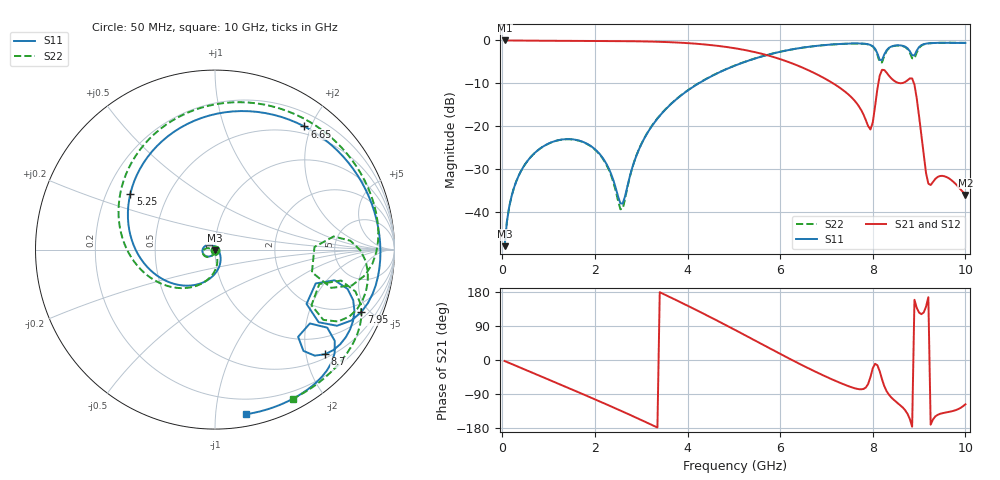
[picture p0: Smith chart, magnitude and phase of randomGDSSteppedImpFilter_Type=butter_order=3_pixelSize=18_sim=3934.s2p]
! freq	dB(S11)	phase(S11)	dB(S12)	phase(S12)
!  dB(S21)	phase(S21)	dB(S22)	phase(S22)
!S-par simulation data
#  GHz  S  DB  R 50
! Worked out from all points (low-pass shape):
!   200 points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, 50 MHz to 10 GHz, reference 50 ohm
!   highest |S21| = -0.01 dB at 50 MHz (marker M1); lowest = -36.0 dB at 10 GHz (marker M2)
!   |S21| within 3 dB of the highest: start of sweep to 5.563 GHz
!   lowest |S11| = -48.0 dB at 50 MHz (marker M3), VSWR 1.01, Z = 50 - j0.399 ohm
!   |S11| at or under -10 dB: start of sweep to 4.242 GHz
!   |S22| runs from -48.0 to -0.5 dB; largest |S21 - S12| = 0
!   S11 on the Smith chart (normalised r, x): 50 MHz: 1.00, -0.01; 5.25 GHz: 0.30, +0.28; 6.65 GHz: 0.39, +1.90; 7.95 GHz: 1.38, -4.47; 8.7 GHz: 0.58, -2.38; 10 GHz: 0.08, -1.20
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0.05  -47.98 -87.3  -0.01 -2.6  -0.01 -2.6  -47.96 -87.1
0.2  -36.34 -99.6  -0.02 -10.4  -0.02 -10.4  -36.33 -98.6
0.55  -28.02 -120.2  -0.05 -28.5  -0.05 -28.5  -28.02 -117.3
1.75  -23.70 170.9  -0.12 -90.6  -0.12 -90.6  -23.74 -175.1
2.2  -27.91 138.4  -0.14 -114.5  -0.14 -114.5  -28.07 168.5
2.6  -38.06 30.3  -0.17 -136.1  -0.17 -136.1  -39.27 -119.9
2.9  -26.75 -49.2  -0.20 -152.7  -0.20 -152.7  -26.72 -75.7
3.4  -17.58 -89.3  -0.32 178.8  -0.32 178.8  -17.52 -94.1
4.3  -9.63 -149.2  -0.87 125.1  -0.87 125.1  -9.58 -142.2
5.05  -5.76 160.2  -1.87 77.8  -1.87 77.8  -5.73 173.6
5.25  -4.96 146.6  -2.26 64.9  -2.26 64.9  -4.94 161.3
6  -2.64 95.7  -4.36 16.3  -4.36 16.3  -2.64 114.5
6.65  -1.44 54.0  -7.15 -24.3  -7.15 -24.3  -1.44 74.3
6.7  -1.37 51.0  -7.41 -27.2  -7.41 -27.2  -1.38 71.3
7.4  -0.77 10.5  -11.93 -65.6  -11.93 -65.6  -0.78 30.5
7.95  -1.05 -23.2  -20.77 -44.9  -20.77 -44.9  -1.10 -5.0
8.15  -4.54 -30.7  -8.22 -29.9  -8.22 -29.9  -5.12 -13.2
8.35  -1.72 -20.1  -8.23 -91.8  -8.23 -91.8  -1.82 -0.3
8.7  -1.45 -43.6  -9.69 -132.6  -9.69 -132.6  -1.55 -26.5
8.9  -3.48 -37.9  -10.32 158.9  -10.32 158.9  -4.26 -18.3
9.2  -0.68 -49.8  -33.40 165.8  -33.40 165.8  -0.70 -30.8
10  -0.60 -79.4  -36.03 -116.9  -36.03 -116.9  -0.56 -62.5
